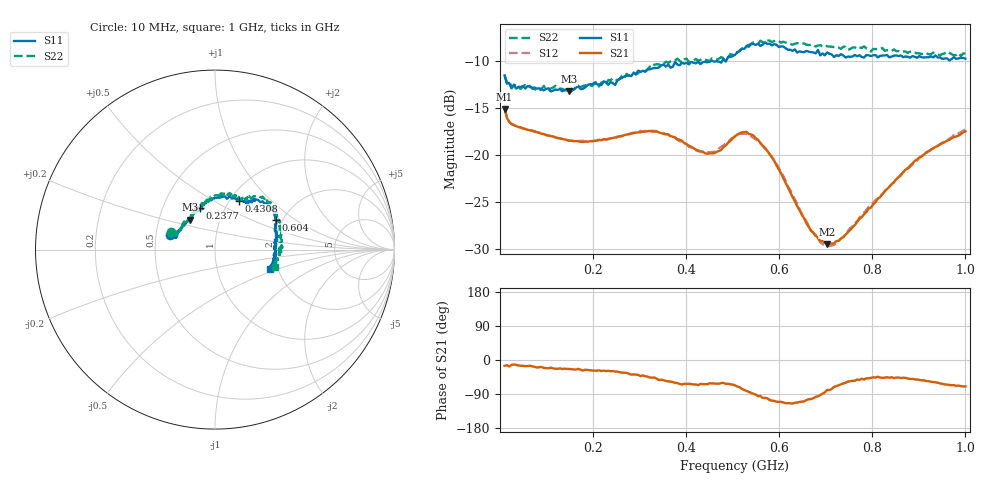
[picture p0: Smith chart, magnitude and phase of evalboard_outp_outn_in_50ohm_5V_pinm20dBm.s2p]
#  HZ  S  DB  R  50.0
! Rohde & Schwarz ZVL
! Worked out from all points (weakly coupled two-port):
!   201 points, 10 MHz to 1 GHz, reference 50 ohm
!   highest |S21| = -15.12 dB at 10 MHz (marker M1); lowest = -29.5 dB at 703 MHz (marker M2)
!   lowest |S11| = -13.2 dB at 148.6 MHz (marker M3), VSWR 1.56, Z = 35.9 + j12.6 ohm
!   |S11| at or under -10 dB: start of sweep to 455 MHz; 456.1 MHz to 477.6 MHz (21.51 MHz wide, 4.61 % of centre); 483.8434 MHz to 486.0358 MHz (2.192 MHz wide, 0.452 % of centre)
!   |S22| runs from -13.2 to -7.8 dB; largest |S21 - S12| = 0.0093
!   S11 on the Smith chart (normalised r, x): 10 MHz: 0.59, +0.10; 237.7 MHz: 0.77, +0.38; 430.8 MHz: 1.10, +0.66; 604 MHz: 1.85, +0.71; 1 GHz: 1.82, -0.43
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1e7  -11.54 162.6  -15.12 -15.4  -15.03 -17.1  -11.55 157.9
2.485e7  -12.93 163.1  -16.72 -12.9  -16.67 -13.1  -12.78 163.5
2.98e7  -12.52 162.8  -16.81 -11.8  -16.80 -13.6  -12.61 162.4
1.486e8  -13.25 129.9  -18.48 -24.0  -18.40 -22.4  -12.88 131.8
1.783e8  -12.98 124.2  -18.60 -27.7  -18.47 -25.7  -12.67 125.5
2.377e8  -12.25 109.6  -18.23 -29.7  -18.19 -29.1  -12.05 113.0
2.476e8  -12.56 106.7  -18.13 -30.6  -18.18 -30.2  -11.99 116.4
2.7235e8  -11.59 106.6  -17.82 -34.0  -17.78 -35.4  -11.38 105.5
3.4165e8  -10.70 83.8  -17.61 -53.1  -17.58 -51.6  -10.36 86.6
4.3075e8  -10.35 64.1  -19.62 -63.1  -19.59 -63.1  -9.91 65.9
4.6045e8  -10.09 58.5  -19.81 -61.9  -19.64 -62.3  -9.82 61.5
5.05e8  -9.37 53.9  -18.01 -66.9  -18.00 -68.9  -9.03 57.6
5.446e8  -8.22 40.6  -17.93 -89.3  -18.19 -88.7  -8.04 48.3
5.743e8  -8.21 34.9  -19.56 -101.0  -19.59 -101.0  -7.84 40.8
5.7925e8  -8.17 32.7  -19.90 -105.5  -19.91 -104.1  -7.84 34.0
6.04e8  -8.48 26.0  -21.95 -110.5  -21.80 -112.2  -8.06 29.7
6.733e8  -9.10 14.1  -28.24 -100.8  -28.22 -101.5  -8.32 20.0
7.03e8  -9.10 9.1  -29.46 -78.9  -29.53 -84.1  -8.46 12.1
7.3765e8  -9.42 0.8  -28.70 -61.7  -28.69 -60.4  -8.50 8.3
8.3665e8  -9.63 -8.0  -23.36 -46.9  -23.30 -45.8  -8.91 -3.6
9.1585e8  -9.62 -15.0  -19.72 -55.5  -19.78 -55.5  -9.15 -11.8
1e9  -9.77 -19.2  -17.48 -69.7  -17.29 -71.1  -9.21 -15.8
